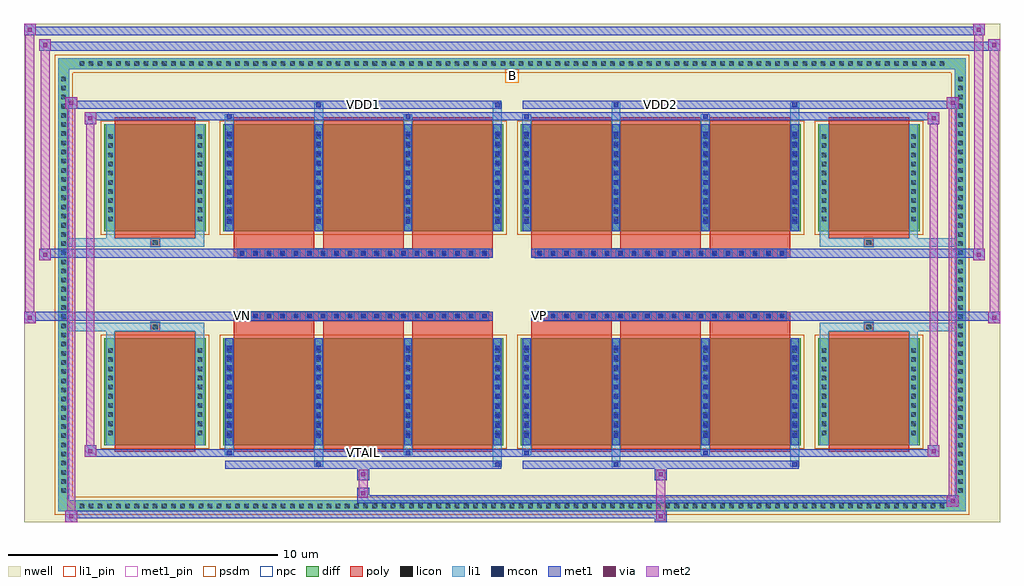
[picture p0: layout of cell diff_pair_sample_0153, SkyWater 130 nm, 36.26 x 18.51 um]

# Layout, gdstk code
import gdstk
lib = gdstk.Library(unit=1e-6, precision=5e-09)
def R(c, l, rs):  # rectangles x0, y0, x1, y1
    for r in rs: c.add(gdstk.rectangle(r[:2], r[2:], *l))
def A(c, l, x, y, w, h, nx, ny, dx, dy):  # array of equal rectangles
    R(c, l, [(x+i*dx, y+j*dy, x+i*dx+w, y+j*dy+h) for i in range(nx) for j in range(ny)])
def P(c, l, *ps):  # polygons
    for p in ps: c.add(gdstk.Polygon(p, *l))
nwell = (64, 20)
diff = (65, 20)
poly = (66, 20)
licon = (66, 44)
li1_pin = (67, 16)
li1 = (67, 20)
mcon = (67, 44)
met1_pin = (68, 16)
met1 = (68, 20)
via = (68, 44)
met2 = (69, 20)
psdm = (94, 20)
npc = (95, 20)

diff_pair_sample_0153 = lib.new_cell('diff_pair_sample_0153')
R(diff_pair_sample_0153, nwell, [(-18.13,-8.82,18.13,9.69), (-15.45,-7.01,-0.01,-0.805), (0.01,-7.01,15.45,-0.805), (-15.45,0.805,-0.01,7.01), (0.01,0.805,15.45,7.01)])
A(diff_pair_sample_0153, diff, -16.185, -8.42, 0.41, 0.41, 95, 2, 0.34, 16.43)
A(diff_pair_sample_0153, diff, -16.86, -7.855, 0.41, 0.41, 1, 46, 0, 0.34)
A(diff_pair_sample_0153, diff, 16.45, -7.855, 0.41, 0.41, 1, 46, 0, 0.34)
R(diff_pair_sample_0153, diff, [(-16.185,-8.42,16.185,-8.01), (-16.86,-7.855,-16.45,7.855), (16.45,-7.855,16.86,7.855), (-15.14,-5.965,-11.37,-1.985), (-10.73,-5.965,-0.32,-1.985), (0.32,-5.965,10.73,-1.985), (11.37,-5.965,15.14,-1.985), (-15.14,1.985,-11.37,5.965), (-10.73,1.985,-0.32,5.965), (0.32,1.985,10.73,5.965), (11.37,1.985,15.14,5.965), (-16.185,8.01,16.185,8.42)])
P(diff_pair_sample_0153, diff, [(16.86,8.42),(-16.86,8.42),(-16.86,-8.01),(-16.45,-8.01),(-16.45,8.01),(16.45,8.01),(16.45,-8.01),(-16.45,-8.01),(-16.86,-8.01),(-16.86,-8.42),(16.86,-8.42)])
A(diff_pair_sample_0153, poly, -10.34, -6.215, 2.99, 4.48, 3, 2, 3.32, 7.95)
A(diff_pair_sample_0153, poly, 0.71, -6.215, 2.99, 4.48, 3, 2, 3.32, 7.95)
A(diff_pair_sample_0153, poly, -10.34, -1.735, 2.99, 0.4, 3, 2, 3.32, 3.07)
A(diff_pair_sample_0153, poly, 0.71, -1.735, 2.99, 0.4, 3, 2, 3.32, 3.07)
A(diff_pair_sample_0153, poly, -10.19, -1.335, 0.33, 0.33, 19, 2, 0.5, 2.34)
A(diff_pair_sample_0153, poly, 0.86, -1.335, 0.33, 0.33, 19, 2, 0.5, 2.34)
R(diff_pair_sample_0153, poly, [(-14.75,-6.215,-11.76,-1.735), (11.76,-6.215,14.75,-1.735), (-13.42,-1.735,-13.09,-1.405), (-13.42,-1.735,-13.09,-1.405), (13.09,-1.735,13.42,-1.405), (13.09,-1.735,13.42,-1.405), (-10.34,-1.335,-0.71,-1.005), (0.71,-1.335,10.34,-1.005), (-10.34,1.005,-0.71,1.335), (0.71,1.005,10.34,1.335), (-13.42,1.405,-13.09,1.735), (-13.42,1.405,-13.09,1.735), (13.09,1.405,13.42,1.735), (13.09,1.405,13.42,1.735), (-14.75,1.735,-11.76,6.215), (11.76,1.735,14.75,6.215)])
A(diff_pair_sample_0153, licon, -16.065, -8.3, 0.17, 0.17, 95, 2, 0.34, 16.43)
A(diff_pair_sample_0153, licon, -16.74, -7.735, 0.17, 0.17, 1, 46, 0, 0.34)
A(diff_pair_sample_0153, licon, 16.57, -7.735, 0.17, 0.17, 1, 46, 0, 0.34)
A(diff_pair_sample_0153, licon, -15, -5.59, 0.17, 0.17, 1, 10, 0, 0.34)
A(diff_pair_sample_0153, licon, -11.68, -5.59, 0.17, 0.17, 1, 10, 0, 0.34)
A(diff_pair_sample_0153, licon, -10.59, -5.59, 0.17, 0.17, 4, 10, 3.32, 0.34)
A(diff_pair_sample_0153, licon, 0.46, -5.59, 0.17, 0.17, 4, 10, 3.32, 0.34)
A(diff_pair_sample_0153, licon, 11.51, -5.59, 0.17, 0.17, 1, 10, 0, 0.34)
A(diff_pair_sample_0153, licon, 14.83, -5.59, 0.17, 0.17, 1, 10, 0, 0.34)
A(diff_pair_sample_0153, licon, -10.11, -1.255, 0.17, 0.17, 19, 2, 0.5, 2.34)
A(diff_pair_sample_0153, licon, 0.94, -1.255, 0.17, 0.17, 19, 2, 0.5, 2.34)
A(diff_pair_sample_0153, licon, -15, 2.36, 0.17, 0.17, 1, 10, 0, 0.34)
A(diff_pair_sample_0153, licon, -11.68, 2.36, 0.17, 0.17, 1, 10, 0, 0.34)
A(diff_pair_sample_0153, licon, -10.59, 2.36, 0.17, 0.17, 4, 10, 3.32, 0.34)
A(diff_pair_sample_0153, licon, 0.46, 2.36, 0.17, 0.17, 4, 10, 3.32, 0.34)
A(diff_pair_sample_0153, licon, 11.51, 2.36, 0.17, 0.17, 1, 10, 0, 0.34)
A(diff_pair_sample_0153, licon, 14.83, 2.36, 0.17, 0.17, 1, 10, 0, 0.34)
R(diff_pair_sample_0153, licon, [(-13.34,-1.655,-13.17,-1.485), (13.17,-1.655,13.34,-1.485), (-13.34,1.485,-13.17,1.655), (13.17,1.485,13.34,1.655)])
R(diff_pair_sample_0153, li1_pin, [(-0.25,7.51,0.25,8.01)])
A(diff_pair_sample_0153, li1, -16.145, -8.38, 0.33, 0.33, 95, 2, 0.34, 16.43)
A(diff_pair_sample_0153, li1, -16.82, -7.815, 0.33, 0.33, 1, 46, 0, 0.34)
A(diff_pair_sample_0153, li1, 16.49, -7.815, 0.33, 0.33, 1, 46, 0, 0.34)
A(diff_pair_sample_0153, li1, -10.67, -5.965, 0.33, 3.98, 4, 2, 3.32, 7.95)
A(diff_pair_sample_0153, li1, 0.38, -5.965, 0.33, 3.98, 4, 2, 3.32, 7.95)
A(diff_pair_sample_0153, li1, -10.59, -5.68, 0.17, 0.17, 4, 10, 3.32, 0.36)
A(diff_pair_sample_0153, li1, -10.59, -5.68, 0.17, 3.41, 4, 2, 3.32, 7.95)
A(diff_pair_sample_0153, li1, 0.46, -5.68, 0.17, 0.17, 4, 10, 3.32, 0.36)
A(diff_pair_sample_0153, li1, 0.46, -5.68, 0.17, 3.41, 4, 2, 3.32, 7.95)
A(diff_pair_sample_0153, li1, -15.08, -5.67, 0.33, 0.33, 1, 10, 0, 0.34)
A(diff_pair_sample_0153, li1, -11.76, -5.67, 0.33, 0.33, 1, 10, 0, 0.34)
A(diff_pair_sample_0153, li1, -10.67, -5.67, 0.33, 0.33, 4, 10, 3.32, 0.34)
A(diff_pair_sample_0153, li1, 0.38, -5.67, 0.33, 0.33, 4, 10, 3.32, 0.34)
A(diff_pair_sample_0153, li1, 11.43, -5.67, 0.33, 0.33, 1, 10, 0, 0.34)
A(diff_pair_sample_0153, li1, 14.75, -5.67, 0.33, 0.33, 1, 10, 0, 0.34)
A(diff_pair_sample_0153, li1, -10.19, -1.335, 0.33, 0.33, 19, 2, 0.5, 2.34)
A(diff_pair_sample_0153, li1, 0.86, -1.335, 0.33, 0.33, 19, 2, 0.5, 2.34)
A(diff_pair_sample_0153, li1, -10.59, 2.27, 0.17, 0.17, 4, 10, 3.32, 0.36)
A(diff_pair_sample_0153, li1, 0.46, 2.27, 0.17, 0.17, 4, 10, 3.32, 0.36)
A(diff_pair_sample_0153, li1, -15.08, 2.28, 0.33, 0.33, 1, 10, 0, 0.34)
A(diff_pair_sample_0153, li1, -11.76, 2.28, 0.33, 0.33, 1, 10, 0, 0.34)
A(diff_pair_sample_0153, li1, -10.67, 2.28, 0.33, 0.33, 4, 10, 3.32, 0.34)
A(diff_pair_sample_0153, li1, 0.38, 2.28, 0.33, 0.33, 4, 10, 3.32, 0.34)
A(diff_pair_sample_0153, li1, 11.43, 2.28, 0.33, 0.33, 1, 10, 0, 0.34)
A(diff_pair_sample_0153, li1, 14.75, 2.28, 0.33, 0.33, 1, 10, 0, 0.34)
R(diff_pair_sample_0153, li1, [(-16.86,-8.42,-16.45,-8.01), (-16.86,-8.42,-16.45,-8.01), (-16.45,-8.42,16.45,-8.01), (16.45,-8.42,16.86,-8.01), (16.45,-8.42,16.86,-8.01), (-16.86,-8.01,-16.45,8.01), (16.45,-8.01,16.86,8.01), (-7.35,-6.77,-7.02,-5.965), (-7.27,-6.77,-7.1,-6.6), (-0.71,-6.77,-0.38,-5.965), (-0.63,-6.77,-0.46,-6.6), (3.7,-6.77,4.03,-5.965), (3.78,-6.77,3.95,-6.6), (10.34,-6.77,10.67,-5.965), (10.42,-6.77,10.59,-6.6), (-10.67,-6.34,-10.34,-5.965), (-10.59,-6.34,-10.42,-6.17), (-4.03,-6.34,-3.7,-5.965), (-3.95,-6.34,-3.78,-6.17), (0.38,-6.34,0.71,-5.965), (0.46,-6.34,0.63,-6.17), (7.02,-6.34,7.35,-5.965), (7.1,-6.34,7.27,-6.17), (-15.08,-5.965,-14.75,-1.985), (-11.76,-5.965,-11.43,-1.985), (11.43,-5.965,11.76,-1.985), (14.75,-5.965,15.08,-1.985), (-15.08,-1.985,-14.75,-1.405), (-11.76,-1.985,-11.43,-1.405), (11.43,-1.985,11.76,-1.405), (14.75,-1.985,15.08,-1.405), (-16.86,-1.735,-13.42,-1.405), (-15.08,-1.735,-13.42,-1.405), (-13.42,-1.735,-13.09,-1.405), (-13.09,-1.735,-11.43,-1.405), (11.43,-1.735,13.09,-1.405), (13.09,-1.735,13.42,-1.405), (13.09,-1.735,16.86,-1.405), (13.42,-1.735,15.08,-1.405), (-16.86,1.405,-13.42,1.735), (-15.08,1.405,-13.42,1.735), (-15.08,1.405,-14.75,1.985), (-13.42,1.405,-13.09,1.735), (-13.09,1.405,-11.43,1.735), (-11.76,1.405,-11.43,1.985), (11.43,1.405,13.09,1.735), (11.43,1.405,11.76,1.985), (13.09,1.405,13.42,1.735), (13.09,1.405,16.86,1.735), (13.42,1.405,15.08,1.735), (14.75,1.405,15.08,1.985), (-15.08,1.985,-14.75,5.965), (-11.76,1.985,-11.43,5.965), (11.43,1.985,11.76,5.965), (14.75,1.985,15.08,5.965), (-10.67,5.965,-10.34,6.34), (-7.35,5.965,-7.02,6.77), (-4.03,5.965,-3.7,6.34), (-0.71,5.965,-0.38,6.77), (0.38,5.965,0.71,6.34), (3.7,5.965,4.03,6.77), (7.02,5.965,7.35,6.34), (10.34,5.965,10.67,6.77), (-10.59,6.17,-10.42,6.34), (-3.95,6.17,-3.78,6.34), (0.46,6.17,0.63,6.34), (7.1,6.17,7.27,6.34), (-7.27,6.6,-7.1,6.77), (-0.63,6.6,-0.46,6.77), (3.78,6.6,3.95,6.77), (10.42,6.6,10.59,6.77), (-16.86,8.01,-16.45,8.42), (-16.86,8.01,-16.45,8.42), (-16.45,8.01,16.45,8.42), (16.45,8.01,16.86,8.42), (16.45,8.01,16.86,8.42)])
A(diff_pair_sample_0153, mcon, -10.59, -5.68, 0.17, 0.17, 4, 10, 3.32, 0.36)
A(diff_pair_sample_0153, mcon, 0.46, -5.68, 0.17, 0.17, 4, 10, 3.32, 0.36)
A(diff_pair_sample_0153, mcon, -10.11, -1.255, 0.17, 0.17, 19, 2, 0.5, 2.34)
A(diff_pair_sample_0153, mcon, 0.94, -1.255, 0.17, 0.17, 19, 2, 0.5, 2.34)
A(diff_pair_sample_0153, mcon, -10.59, 2.27, 0.17, 0.17, 4, 10, 3.32, 0.36)
A(diff_pair_sample_0153, mcon, 0.46, 2.27, 0.17, 0.17, 4, 10, 3.32, 0.36)
R(diff_pair_sample_0153, mcon, [(-7.27,-6.77,-7.1,-6.6), (-0.63,-6.77,-0.46,-6.6), (3.78,-6.77,3.95,-6.6), (10.42,-6.77,10.59,-6.6), (-10.59,-6.34,-10.42,-6.17), (-3.95,-6.34,-3.78,-6.17), (0.46,-6.34,0.63,-6.17), (7.1,-6.34,7.27,-6.17), (-10.59,6.17,-10.42,6.34), (-3.95,6.17,-3.78,6.34), (0.46,6.17,0.63,6.34), (7.1,6.17,7.27,6.34), (-7.27,6.6,-7.1,6.77), (-0.63,6.6,-0.46,6.77), (3.78,6.6,3.95,6.77), (10.42,6.6,10.59,6.77)])
R(diff_pair_sample_0153, met1_pin, [(-5.66,-6.38,-5.39,-6.11), (-10.16,-1.295,-9.89,-1.025), (0.89,-1.295,1.16,-1.025), (-5.66,6.56,-5.39,6.83), (5.39,6.56,5.66,6.83)])
A(diff_pair_sample_0153, met1, -10.65, -5.965, 0.29, 3.98, 4, 2, 3.32, 7.95)
A(diff_pair_sample_0153, met1, 0.4, -5.965, 0.29, 3.98, 4, 2, 3.32, 7.95)
A(diff_pair_sample_0153, met1, -10.65, -5.74, 0.29, 0.29, 4, 10, 3.32, 0.36)
A(diff_pair_sample_0153, met1, 0.4, -5.74, 0.29, 0.29, 4, 10, 3.32, 0.36)
A(diff_pair_sample_0153, met1, -10.17, -1.315, 0.29, 0.29, 19, 2, 0.5, 2.34)
A(diff_pair_sample_0153, met1, 0.88, -1.315, 0.29, 0.29, 19, 2, 0.5, 2.34)
A(diff_pair_sample_0153, met1, -10.65, 2.21, 0.29, 0.29, 4, 10, 3.32, 0.36)
A(diff_pair_sample_0153, met1, 0.4, 2.21, 0.29, 0.29, 4, 10, 3.32, 0.36)
R(diff_pair_sample_0153, met1, [(-16.59,-8.82,-16.16,-8.39), (5.31,-8.82,5.74,-8.39), (-16.59,-8.68,5.74,-8.39), (16.16,-8.25,16.59,-7.82), (-5.74,-8.11,16.59,-7.82), (-5.74,-7.97,-5.31,-7.54), (-5.74,-7.26,-5.31,-6.83), (5.31,-7.26,5.74,-6.83), (-10.65,-6.83,-0.4,-6.54), (-7.33,-6.83,-7.04,-6.54), (-0.69,-6.83,-0.4,-6.54), (0.4,-6.83,10.65,-6.54), (3.72,-6.83,4.01,-6.54), (10.36,-6.83,10.65,-6.54), (-15.88,-6.4,-15.45,-5.97), (-15.88,-6.4,-10.65,-6.11), (-10.65,-6.4,-10.36,-6.11), (-10.65,-6.4,-0.4,-6.11), (-4.01,-6.4,-3.72,-6.11), (-0.4,-6.4,0.4,-6.11), (0.4,-6.4,0.69,-6.11), (0.4,-6.4,10.65,-6.11), (7.04,-6.4,7.33,-6.11), (10.65,-6.4,15.88,-6.11), (15.45,-6.4,15.88,-5.97), (-18.13,-1.435,-17.7,-1.005), (17.7,-1.435,18.13,-1.005), (-18.13,-1.335,-0.71,-1.005), (-10.34,-1.335,-0.71,-1.005), (0.71,-1.335,10.34,-1.005), (0.71,-1.335,18.13,-1.005), (-17.56,0.905,-17.13,1.335), (17.13,0.905,17.56,1.335), (-17.56,1.005,-10.34,1.335), (-10.34,1.005,-0.71,1.335), (0.71,1.005,10.34,1.335), (10.34,1.005,17.56,1.335), (-15.88,5.97,-15.45,6.4), (15.45,5.97,15.88,6.4), (-15.88,6.11,-10.65,6.4), (-10.65,6.11,-10.36,6.4), (-10.65,6.11,-0.4,6.4), (-4.01,6.11,-3.72,6.4), (-0.4,6.11,0.4,6.4), (0.4,6.11,0.69,6.4), (0.4,6.11,10.65,6.4), (7.04,6.11,7.33,6.4), (10.65,6.11,15.88,6.4), (-16.59,6.54,-16.16,6.97), (-16.59,6.54,-10.65,6.83), (-10.65,6.54,-0.4,6.83), (-7.33,6.54,-7.04,6.83), (-0.69,6.54,-0.4,6.83), (0.4,6.54,10.65,6.83), (3.72,6.54,4.01,6.83), (10.36,6.54,10.65,6.83), (10.65,6.54,16.59,6.83), (16.16,6.54,16.59,6.97), (-17.56,8.69,-17.13,9.12), (-17.56,8.69,-15.45,9.02), (-15.45,8.69,15.45,9.02), (15.45,8.69,18.13,9.02), (17.7,8.69,18.13,9.12), (-18.13,9.26,-17.7,9.69), (-18.13,9.26,-15.45,9.59), (-15.45,9.26,15.45,9.59), (15.45,9.26,17.56,9.59), (17.13,9.26,17.56,9.69)])
R(diff_pair_sample_0153, via, [(-16.45,-8.68,-16.3,-8.53), (5.45,-8.68,5.6,-8.53), (16.3,-8.11,16.45,-7.96), (-5.6,-7.83,-5.45,-7.68), (-5.6,-7.12,-5.45,-6.97), (5.45,-7.12,5.6,-6.97), (-15.74,-6.26,-15.59,-6.11), (15.59,-6.26,15.74,-6.11), (-17.99,-1.295,-17.84,-1.145), (17.84,-1.295,17.99,-1.145), (-17.42,1.045,-17.27,1.195), (17.27,1.045,17.42,1.195), (-15.74,6.11,-15.59,6.26), (15.59,6.11,15.74,6.26), (-16.45,6.68,-16.3,6.83), (16.3,6.68,16.45,6.83), (-17.42,8.83,-17.27,8.98), (17.84,8.83,17.99,8.98), (-17.99,9.4,-17.84,9.55), (17.27,9.4,17.42,9.55)])
R(diff_pair_sample_0153, met2, [(-16.59,-8.82,-16.16,-8.39), (-16.52,-8.82,-16.23,6.97), (-16.23,-8.82,-16.16,-8.39), (-16.54,-8.77,-16.21,-8.44), (5.36,-8.77,5.69,-8.44), (5.36,-8.44,5.69,-7.21), (16.16,-8.25,16.59,-7.82), (16.23,-8.25,16.52,6.97), (16.52,-8.25,16.59,-7.82), (16.21,-8.2,16.54,-7.87), (-5.69,-7.92,-5.36,-7.59), (-5.69,-7.59,-5.36,-7.21), (-5.69,-7.21,-5.36,-6.88), (5.36,-7.21,5.69,-6.88), (-15.88,-6.4,-15.45,-5.97), (-15.81,-6.4,-15.52,6.4), (-15.52,-6.4,-15.45,-5.97), (15.45,-6.4,15.88,-5.97), (15.52,-6.4,15.81,6.4), (15.81,-6.4,15.88,-5.97), (-15.83,-6.35,-15.5,-6.02), (15.5,-6.35,15.83,-6.02), (-18.13,-1.435,-17.7,-1.005), (-18.08,-1.435,-17.75,9.69), (-17.75,-1.435,-17.7,-1.005), (17.7,-1.435,18.13,-1.005), (17.75,-1.435,18.08,9.12), (18.08,-1.435,18.13,-1.005), (-18.08,-1.385,-17.75,-1.055), (17.75,-1.385,18.08,-1.055), (-17.56,0.905,-17.13,1.335), (-17.51,0.905,-17.18,9.12), (-17.18,0.905,-17.13,1.335), (17.13,0.905,17.56,1.335), (17.18,0.905,17.51,9.69), (17.51,0.905,17.56,1.335), (-17.51,0.955,-17.18,1.285), (17.18,0.955,17.51,1.285), (-15.88,5.97,-15.45,6.4), (-15.52,5.97,-15.45,6.4), (15.45,5.97,15.88,6.4), (15.81,5.97,15.88,6.4), (-15.83,6.02,-15.5,6.35), (15.5,6.02,15.83,6.35), (-16.59,6.54,-16.16,6.97), (-16.23,6.54,-16.16,6.97), (16.16,6.54,16.59,6.97), (16.52,6.54,16.59,6.97), (-16.54,6.59,-16.21,6.92), (16.21,6.59,16.54,6.92), (-17.56,8.69,-17.13,9.12), (-17.18,8.69,-17.13,9.12), (17.7,8.69,18.13,9.12), (18.08,8.69,18.13,9.12), (-17.51,8.74,-17.18,9.07), (17.75,8.74,18.08,9.07), (-18.13,9.26,-17.7,9.69), (-17.75,9.26,-17.7,9.69), (17.13,9.26,17.56,9.69), (17.51,9.26,17.56,9.69), (-18.08,9.31,-17.75,9.64), (17.18,9.31,17.51,9.64)])
R(diff_pair_sample_0153, psdm, [(-15.27,-6.095,-11.24,-1.855), (-10.86,-6.095,-0.19,-1.855), (0.19,-6.095,10.86,-1.855), (11.24,-6.095,15.27,-1.855), (-15.27,1.855,-11.24,6.095), (-10.86,1.855,-0.19,6.095), (0.19,1.855,10.86,6.095), (11.24,1.855,15.27,6.095)])
P(diff_pair_sample_0153, psdm, [(16.99,8.55),(-16.99,8.55),(-16.99,-7.88),(-16.32,-7.88),(-16.32,7.88),(16.32,7.88),(16.32,-7.88),(-16.32,-7.88),(-16.99,-7.88),(-16.99,-8.55),(16.99,-8.55)])
A(diff_pair_sample_0153, npc, -10.21, -1.355, 0.37, 0.37, 19, 2, 0.5, 2.34)
A(diff_pair_sample_0153, npc, 0.84, -1.355, 0.37, 0.37, 19, 2, 0.5, 2.34)
R(diff_pair_sample_0153, npc, [(-13.44,-1.755,-13.07,-1.385), (13.07,-1.755,13.44,-1.385), (-10.21,-1.355,-9.34,-0.985), (-10.21,-1.355,-9.34,-0.985), (-9.71,-1.355,-8.84,-0.985), (-9.71,-1.355,-8.84,-0.985), (-9.21,-1.355,-8.34,-0.985), (-9.21,-1.355,-8.34,-0.985), (-8.71,-1.355,-7.84,-0.985), (-8.71,-1.355,-7.84,-0.985), (-8.21,-1.355,-7.34,-0.985), (-8.21,-1.355,-7.34,-0.985), (-7.71,-1.355,-6.84,-0.985), (-7.71,-1.355,-6.84,-0.985), (-7.21,-1.355,-6.34,-0.985), (-7.21,-1.355,-6.34,-0.985), (-6.71,-1.355,-5.84,-0.985), (-6.71,-1.355,-5.84,-0.985), (-6.21,-1.355,-5.34,-0.985), (-6.21,-1.355,-5.34,-0.985), (-5.71,-1.355,-4.84,-0.985), (-5.71,-1.355,-4.84,-0.985), (-5.21,-1.355,-4.34,-0.985), (-5.21,-1.355,-4.34,-0.985), (-4.71,-1.355,-3.84,-0.985), (-4.71,-1.355,-3.84,-0.985), (-4.21,-1.355,-3.34,-0.985), (-4.21,-1.355,-3.34,-0.985), (-3.71,-1.355,-2.84,-0.985), (-3.71,-1.355,-2.84,-0.985), (-3.21,-1.355,-2.34,-0.985), (-3.21,-1.355,-2.34,-0.985), (-2.71,-1.355,-1.84,-0.985), (-2.71,-1.355,-1.84,-0.985), (-2.21,-1.355,-1.34,-0.985), (-2.21,-1.355,-1.34,-0.985), (-1.71,-1.355,-0.84,-0.985), (-1.71,-1.355,-0.84,-0.985), (0.84,-1.355,1.71,-0.985), (0.84,-1.355,1.71,-0.985), (1.34,-1.355,2.21,-0.985), (1.34,-1.355,2.21,-0.985), (1.84,-1.355,2.71,-0.985), (1.84,-1.355,2.71,-0.985), (2.34,-1.355,3.21,-0.985), (2.34,-1.355,3.21,-0.985), (2.84,-1.355,3.71,-0.985), (2.84,-1.355,3.71,-0.985), (3.34,-1.355,4.21,-0.985), (3.34,-1.355,4.21,-0.985), (3.84,-1.355,4.71,-0.985), (3.84,-1.355,4.71,-0.985), (4.34,-1.355,5.21,-0.985), (4.34,-1.355,5.21,-0.985), (4.84,-1.355,5.71,-0.985), (4.84,-1.355,5.71,-0.985), (5.34,-1.355,6.21,-0.985), (5.34,-1.355,6.21,-0.985), (5.84,-1.355,6.71,-0.985), (5.84,-1.355,6.71,-0.985), (6.34,-1.355,7.21,-0.985), (6.34,-1.355,7.21,-0.985), (6.84,-1.355,7.71,-0.985), (6.84,-1.355,7.71,-0.985), (7.34,-1.355,8.21,-0.985), (7.34,-1.355,8.21,-0.985), (7.84,-1.355,8.71,-0.985), (7.84,-1.355,8.71,-0.985), (8.34,-1.355,9.21,-0.985), (8.34,-1.355,9.21,-0.985), (8.84,-1.355,9.71,-0.985), (8.84,-1.355,9.71,-0.985), (9.34,-1.355,10.21,-0.985), (9.34,-1.355,10.21,-0.985), (-10.21,0.985,-9.34,1.355), (-10.21,0.985,-9.34,1.355), (-9.71,0.985,-8.84,1.355), (-9.71,0.985,-8.84,1.355), (-9.21,0.985,-8.34,1.355), (-9.21,0.985,-8.34,1.355), (-8.71,0.985,-7.84,1.355), (-8.71,0.985,-7.84,1.355), (-8.21,0.985,-7.34,1.355), (-8.21,0.985,-7.34,1.355), (-7.71,0.985,-6.84,1.355), (-7.71,0.985,-6.84,1.355), (-7.21,0.985,-6.34,1.355), (-7.21,0.985,-6.34,1.355), (-6.71,0.985,-5.84,1.355), (-6.71,0.985,-5.84,1.355), (-6.21,0.985,-5.34,1.355), (-6.21,0.985,-5.34,1.355), (-5.71,0.985,-4.84,1.355), (-5.71,0.985,-4.84,1.355), (-5.21,0.985,-4.34,1.355), (-5.21,0.985,-4.34,1.355), (-4.71,0.985,-3.84,1.355), (-4.71,0.985,-3.84,1.355), (-4.21,0.985,-3.34,1.355), (-4.21,0.985,-3.34,1.355), (-3.71,0.985,-2.84,1.355), (-3.71,0.985,-2.84,1.355), (-3.21,0.985,-2.34,1.355), (-3.21,0.985,-2.34,1.355), (-2.71,0.985,-1.84,1.355), (-2.71,0.985,-1.84,1.355), (-2.21,0.985,-1.34,1.355), (-2.21,0.985,-1.34,1.355), (-1.71,0.985,-0.84,1.355), (-1.71,0.985,-0.84,1.355), (0.84,0.985,1.71,1.355), (0.84,0.985,1.71,1.355), (1.34,0.985,2.21,1.355), (1.34,0.985,2.21,1.355), (1.84,0.985,2.71,1.355), (1.84,0.985,2.71,1.355), (2.34,0.985,3.21,1.355), (2.34,0.985,3.21,1.355), (2.84,0.985,3.71,1.355), (2.84,0.985,3.71,1.355), (3.34,0.985,4.21,1.355), (3.34,0.985,4.21,1.355), (3.84,0.985,4.71,1.355), (3.84,0.985,4.71,1.355), (4.34,0.985,5.21,1.355), (4.34,0.985,5.21,1.355), (4.84,0.985,5.71,1.355), (4.84,0.985,5.71,1.355), (5.34,0.985,6.21,1.355), (5.34,0.985,6.21,1.355), (5.84,0.985,6.71,1.355), (5.84,0.985,6.71,1.355), (6.34,0.985,7.21,1.355), (6.34,0.985,7.21,1.355), (6.84,0.985,7.71,1.355), (6.84,0.985,7.71,1.355), (7.34,0.985,8.21,1.355), (7.34,0.985,8.21,1.355), (7.84,0.985,8.71,1.355), (7.84,0.985,8.71,1.355), (8.34,0.985,9.21,1.355), (8.34,0.985,9.21,1.355), (8.84,0.985,9.71,1.355), (8.84,0.985,9.71,1.355), (9.34,0.985,10.21,1.355), (9.34,0.985,10.21,1.355), (-13.44,1.385,-13.07,1.755), (13.07,1.385,13.44,1.755)])
diff_pair_sample_0153.add(gdstk.Label('VTAIL', (-5.525,-6.245), layer=68, texttype=5))
diff_pair_sample_0153.add(gdstk.Label('VN', (-10.025,-1.16), layer=68, texttype=5))
diff_pair_sample_0153.add(gdstk.Label('VP', (1.025,-1.16), layer=68, texttype=5))
diff_pair_sample_0153.add(gdstk.Label('B', (0,7.76), layer=67, texttype=5))
diff_pair_sample_0153.add(gdstk.Label('VDD2', (5.525,6.695), layer=68, texttype=5))
diff_pair_sample_0153.add(gdstk.Label('VDD1', (-5.525,6.695), layer=68, texttype=5))

lib.write_gds('diff_pair_sample_0153.gds')
